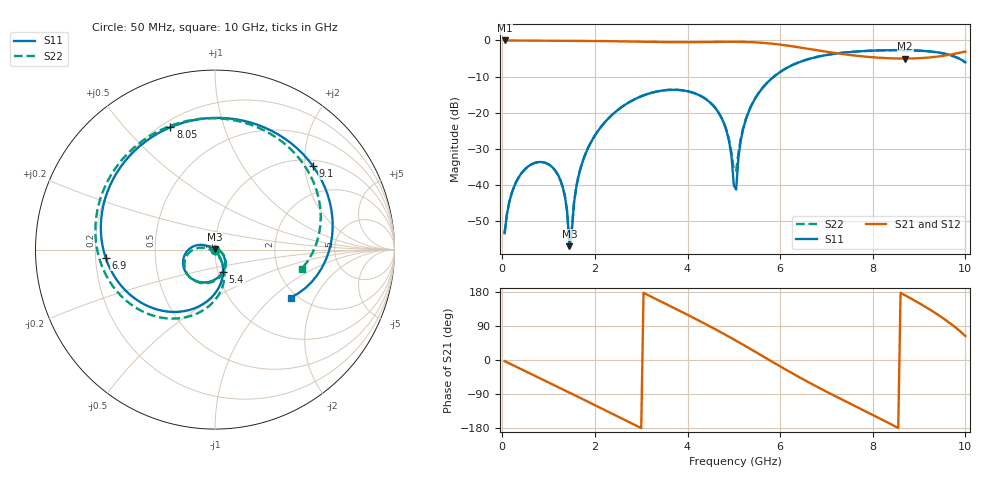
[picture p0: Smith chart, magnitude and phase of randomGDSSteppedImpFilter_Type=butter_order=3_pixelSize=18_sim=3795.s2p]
! freq	dB(S11)	phase(S11)	dB(S12)	phase(S12)
!  dB(S21)	phase(S21)	dB(S22)	phase(S22)
!S-par simulation data
#  GHz  S  DB  R 50
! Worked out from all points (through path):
!   200 points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, 50 MHz to 10 GHz, reference 50 ohm
!   highest |S21| = 0.00 dB at 50 MHz (marker M1); lowest = -5.0 dB at 8.7 GHz (marker M2)
!   group delay of S21, straight-line fit = 179 ps
!   lowest |S11| = -56.9 dB at 1.45 GHz (marker M3), VSWR 1.00, Z = 49.9 + j0.0733 ohm
!   |S11| at or under -10 dB: start of sweep to 5.866 GHz
!   |S22| runs from -56.2 to -2.7 dB; largest |S21 - S12| = 0
!   S11 on the Smith chart (normalised r, x): 50 MHz: 1.00, -0.00; 5.4 GHz: 1.06, -0.27; 6.9 GHz: 0.24, -0.03; 8.05 GHz: 0.23, +0.67; 9.1 GHz: 1.15, +2.20; 10 GHz: 1.85, -1.32
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0.05  -53.29 -76.7  -0.00 -3.0  -0.00 -3.0  -53.27 -76.9
0.35  -37.93 -109.1  -0.03 -20.8  -0.03 -20.8  -37.94 -108.9
0.9  -33.72 -144.8  -0.07 -53.4  -0.07 -53.4  -33.74 -144.3
1.3  -40.27 -171.5  -0.09 -77.1  -0.09 -77.1  -40.34 -171.9
1.45  -56.88 149.2  -0.10 -86.1  -0.10 -86.1  -56.21 137.2
1.6  -40.38 -2.1  -0.11 -95.1  -0.11 -95.1  -40.24 1.5
1.75  -32.94 -13.6  -0.12 -104.1  -0.12 -104.1  -32.88 -10.9
2.6  -18.22 -66.9  -0.26 -155.5  -0.26 -155.5  -18.20 -63.9
3.4  -13.97 -115.8  -0.44 156.0  -0.44 156.0  -13.95 -111.6
4.6  -18.70 169.9  -0.40 81.2  -0.40 81.2  -18.67 179.0
4.85  -25.35 155.5  -0.37 64.5  -0.37 64.5  -25.17 170.5
5.05  -41.25 -75.9  -0.37 50.8  -0.37 50.8  -35.96 -97.4
5.15  -27.63 -56.4  -0.39 43.9  -0.39 43.9  -27.09 -62.2
5.4  -17.46 -70.2  -0.48 26.1  -0.48 26.1  -17.36 -67.1
5.95  -9.17 -109.5  -1.07 -13.3  -1.07 -13.3  -9.12 -102.0
6.7  -4.86 -162.4  -2.51 -64.4  -2.51 -64.4  -4.83 -150.8
6.9  -4.28 -175.8  -2.92 -77.2  -2.92 -77.2  -4.25 -163.1
8.05  -2.79 110.0  -4.70 -148.0  -4.70 -148.0  -2.79 129.4
8.35  -2.69 90.7  -4.92 -166.7  -4.92 -166.7  -2.70 111.6
8.7  -2.69 67.7  -5.01 170.7  -5.01 170.7  -2.71 90.2
9.1  -2.89 40.4  -4.83 143.0  -4.83 143.0  -2.92 63.9
10  -6.03 -32.4  -3.08 63.2  -3.08 63.2  -6.12 -12.6
